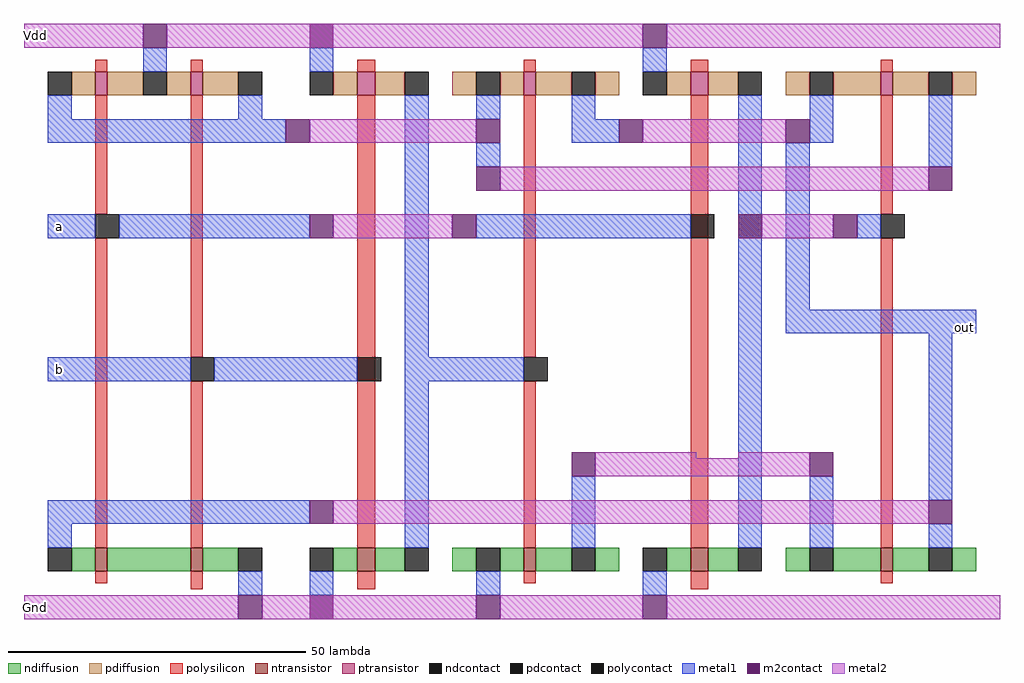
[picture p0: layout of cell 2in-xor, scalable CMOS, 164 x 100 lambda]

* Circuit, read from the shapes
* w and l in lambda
.subckt 2in-xor Gnd Vdd a b out
M1 n1 a out VSUBS nfet w=4 l=2
M2 Gnd b n1 VSUBS nfet w=4 l=2
M3 n2 b Gnd VSUBS nfet w=4 l=3
M4 n3 n2 Gnd VSUBS nfet w=4 l=2
M5 n4 a Gnd VSUBS nfet w=4 l=3
M6 out n4 n3 VSUBS nfet w=4 l=2
M7 Vdd a n5 NWELL pfet w=4 l=2
M8 n5 b Vdd NWELL pfet w=4 l=2
M9 n2 b Vdd NWELL pfet w=4 l=3
M10 out n2 n5 NWELL pfet w=4 l=2
M11 n4 a Vdd NWELL pfet w=4 l=3
M12 n5 n4 out NWELL pfet w=4 l=2
.ends

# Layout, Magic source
magic
tech scmos
<< polysilicon >>
rect 12 92 14 94
rect 28 92 30 94
rect 84 92 86 94
rect 144 92 146 94
rect 12 68 14 88
rect 12 12 14 64
rect 28 44 30 88
rect 84 44 86 88
rect 144 68 146 88
rect 28 12 30 40
rect 84 12 86 40
rect 144 12 146 64
rect 12 6 14 8
rect 28 5 30 8
rect 84 6 86 8
rect 144 6 146 8
<< ndiffusion >>
rect 8 8 12 12
rect 14 8 28 12
rect 30 8 36 12
rect 72 8 76 12
rect 80 8 84 12
rect 86 8 92 12
rect 96 8 100 12
rect 128 8 132 12
rect 136 8 144 12
rect 146 8 152 12
rect 156 8 160 12
<< pdiffusion >>
rect 8 88 12 92
rect 14 88 20 92
rect 24 88 28 92
rect 30 88 36 92
rect 72 88 76 92
rect 80 88 84 92
rect 86 88 92 92
rect 96 88 100 92
rect 128 88 132 92
rect 136 88 144 92
rect 146 88 152 92
rect 156 88 160 92
<< metal1 >>
rect 20 92 24 96
rect 4 84 8 88
rect 36 84 40 88
rect 76 84 80 88
rect 4 80 44 84
rect 92 84 96 88
rect 92 80 100 84
rect 132 80 136 88
rect 76 76 80 80
rect 4 64 12 68
rect 16 64 48 68
rect 76 64 112 68
rect 128 52 132 80
rect 152 76 156 88
rect 140 64 144 68
rect 128 48 160 52
rect 4 40 28 44
rect 32 40 56 44
rect 64 40 84 44
rect 4 16 48 20
rect 4 12 8 16
rect 92 12 96 24
rect 36 4 40 8
rect 132 12 136 24
rect 152 20 156 48
rect 152 12 156 16
rect 76 4 80 8
<< metal2 >>
rect 0 96 20 100
rect 24 96 104 100
rect 108 96 164 100
rect 48 80 76 84
rect 104 80 128 84
rect 80 72 152 76
rect 52 64 72 68
rect 124 64 136 68
rect 96 27 113 28
rect 120 27 132 28
rect 96 24 132 27
rect 52 16 152 20
rect 0 0 36 4
rect 40 0 76 4
rect 80 0 104 4
rect 108 0 164 4
<< ntransistor >>
rect 12 8 14 12
rect 28 8 30 12
rect 84 8 86 12
rect 144 8 146 12
<< ptransistor >>
rect 12 88 14 92
rect 28 88 30 92
rect 84 88 86 92
rect 144 88 146 92
<< polycontact >>
rect 12 64 16 68
rect 112 64 116 68
rect 144 64 148 68
rect 28 40 32 44
rect 56 40 60 44
rect 84 40 88 44
<< ndcontact >>
rect 4 8 8 12
rect 36 8 40 12
rect 76 8 80 12
rect 92 8 96 12
rect 132 8 136 12
rect 152 8 156 12
<< pdcontact >>
rect 4 88 8 92
rect 20 88 24 92
rect 36 88 40 92
rect 76 88 80 92
rect 92 88 96 92
rect 132 88 136 92
rect 152 88 156 92
<< m2contact >>
rect 20 96 24 100
rect 44 80 48 84
rect 76 80 80 84
rect 100 80 104 84
rect 128 80 132 84
rect 76 72 80 76
rect 48 64 52 68
rect 72 64 76 68
rect 120 64 124 68
rect 152 72 156 76
rect 136 64 140 68
rect 92 24 96 28
rect 48 16 52 20
rect 36 0 40 4
rect 132 24 136 28
rect 152 16 156 20
rect 76 0 80 4
use inv  inv_0
transform 1 0 44 0 1 0
box 0 0 28 100
use inv  inv_1
transform 1 0 100 0 1 0
box 0 0 28 100
<< labels >>
rlabel metal2 2 98 2 98 4 Vdd
rlabel metal2 2 2 2 2 2 Gnd
rlabel metal1 6 66 6 66 1 a
rlabel metal1 6 42 6 42 1 b
rlabel metal1 158 49 158 49 1 out
<< end >>

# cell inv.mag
magic
tech scmos
<< polysilicon >>
rect 12 92 15 94
rect 12 12 15 88
rect 12 5 15 8
<< ndiffusion >>
rect 8 8 12 12
rect 15 8 20 12
<< pdiffusion >>
rect 8 88 12 92
rect 15 88 20 92
<< metal1 >>
rect 4 92 8 96
rect 20 12 24 88
rect 4 4 8 8
<< metal2 >>
rect 0 96 4 100
rect 8 96 28 100
rect 0 0 4 4
rect 8 0 28 4
<< ntransistor >>
rect 12 8 15 12
<< ptransistor >>
rect 12 88 15 92
<< ndcontact >>
rect 4 8 8 12
rect 20 8 24 12
<< pdcontact >>
rect 4 88 8 92
rect 20 88 24 92
<< m2contact >>
rect 4 96 8 100
rect 4 0 8 4
<< end >>
